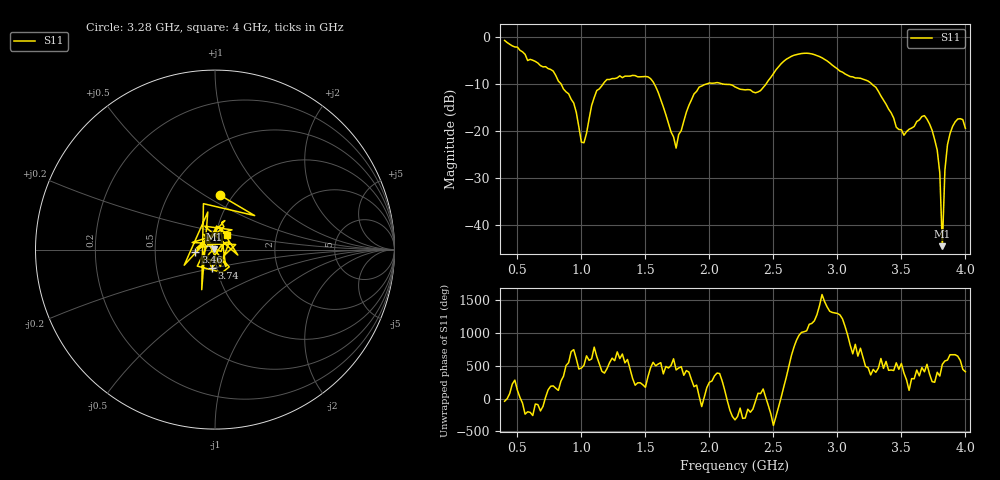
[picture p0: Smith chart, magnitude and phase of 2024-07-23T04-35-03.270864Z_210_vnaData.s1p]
!Created with skrf (http://scikit-rf.org).
# Hz S RI R 50.0
!freq ReS11 ImS11
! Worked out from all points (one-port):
!   181 points, 400 MHz to 4 GHz, reference 50 ohm
!   lowest |S11| = -44.5 dB at 3.82 GHz (marker M1), VSWR 1.01, Z = 49.4 + j0.171 ohm
!   |S11| at or under -10 dB: 1.569 GHz to 1.981 GHz (411.9 MHz wide, 23.2 % of centre); 2.1 GHz to 2.443 GHz (343.8 MHz wide, 15.1 % of centre); 3.268 GHz to end of sweep (the widest 3 of 4)
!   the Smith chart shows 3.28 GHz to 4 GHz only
!   S11 on the Smith chart (normalised r, x): 3.28 GHz: 0.87, +0.58; 3.46 GHz: 0.80, -0.02; 3.74 GHz: 0.94, -0.19; 4 GHz: 1.13, +0.19
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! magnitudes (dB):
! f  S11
! 400 MHz  -0.8
! 780 MHz  -7.3
! 860 MHz  -11.1
! 940 MHz  -14.1
! 1 GHz  -22.4
! 1.02 GHz  -22.5
! 1.12 GHz  -11.4
! 1.3 GHz  -8.3
! 1.54 GHz  -8.9
! 1.74 GHz  -23.6
! 1.76 GHz  -20.8
! 1.92 GHz  -10.7
! 2.2 GHz  -10.6
! 2.38 GHz  -11.7
! 2.66 GHz  -3.9
! 3.1 GHz  -8.5
! 3.28 GHz  -10.3
! 3.46 GHz  -19.2
! 3.56 GHz  -19.7
! 3.68 GHz  -16.8
! 3.74 GHz  -19.9
! 3.78 GHz  -24.1
! 3.8 GHz  -28.9
! 3.82 GHz  -44.5
! 3.84 GHz  -28.3
! 3.86 GHz  -22.9
! 3.94 GHz  -17.5
! 4 GHz  -19.4
